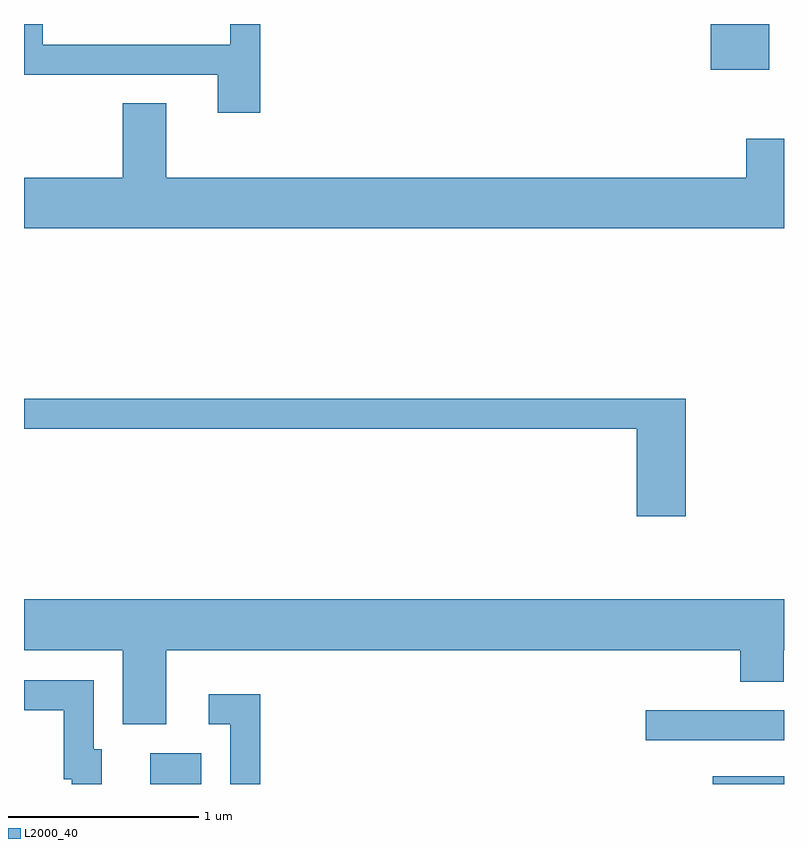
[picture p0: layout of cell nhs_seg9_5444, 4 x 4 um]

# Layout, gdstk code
import gdstk
lib = gdstk.Library(unit=1e-6, precision=1e-09)
def R(c, l, rs):  # rectangles x0, y0, x1, y1
    for r in rs: c.add(gdstk.rectangle(r[:2], r[2:], *l))
def P(c, l, *ps):  # polygons
    for p in ps: c.add(gdstk.Polygon(p, *l))
L2000_40 = (2000, 40)

nhs_seg9_5444 = lib.new_cell('nhs_seg9_5444')
R(nhs_seg9_5444, L2000_40, [(346.276,2004.432,346.544,2004.594), (349.236,2004.432,349.611,2004.474), (348.883,2004.661,349.611,2004.819), (349.226,2008.191,349.534,2008.432)])
P(nhs_seg9_5444, L2000_40, [(346.854,2008.432),(346.696,2008.432),(346.696,2008.324),(345.709,2008.324),(345.709,2008.432),(345.611,2008.432),(345.611,2008.166),(346.631,2008.166),(346.631,2007.966),(346.854,2007.966)],
  [(349.611,2007.829),(349.411,2007.829),(349.411,2007.624),(346.359,2007.624),(346.359,2008.014),(346.131,2008.014),(346.131,2007.624),(345.611,2007.624),(345.611,2007.356),(349.611,2007.356)],
  [(349.094,2006.459),(345.611,2006.459),(345.611,2006.301),(348.836,2006.301),(348.836,2005.841),(349.094,2005.841)],
  [(346.359,2005.136),(349.381,2005.136),(349.381,2004.971),(349.609,2004.971),(349.609,2005.136),(349.611,2005.136),(349.611,2005.404),(345.611,2005.404),(345.611,2005.136),(346.131,2005.136),(346.131,2004.746),(346.359,2004.746)],
  [(346.019,2004.614),(345.979,2004.614),(345.979,2004.979),(345.611,2004.979),(345.611,2004.821),(345.821,2004.821),(345.821,2004.456),(345.861,2004.456),(345.861,2004.432),(346.019,2004.432)],
  [(346.854,2004.904),(346.583,2004.904),(346.583,2004.746),(346.696,2004.746),(346.696,2004.432),(346.854,2004.432)])

lib.write_gds('nhs_seg9_5444.gds')
